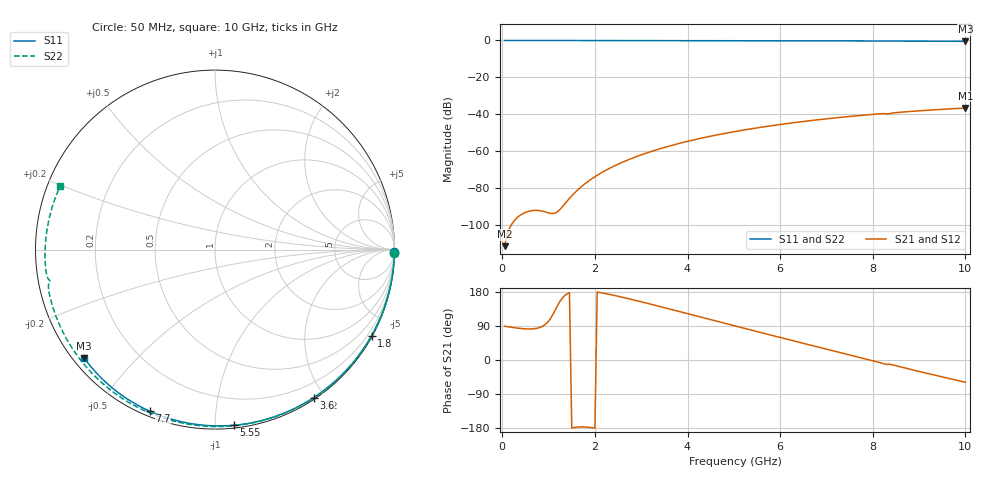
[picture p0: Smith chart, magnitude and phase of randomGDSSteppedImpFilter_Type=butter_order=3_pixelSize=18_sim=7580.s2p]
! freq	dB(S11)	phase(S11)	dB(S12)	phase(S12)
!  dB(S21)	phase(S21)	dB(S22)	phase(S22)
!S-par simulation data
#  GHz  S  DB  R 50
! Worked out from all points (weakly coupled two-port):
!   200 points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, 50 MHz to 10 GHz, reference 50 ohm
!   highest |S21| = -36.69 dB at 10 GHz (marker M1); lowest = -111.7 dB at 50 MHz (marker M2)
!   lowest |S11| = -0.5 dB at 10 GHz (marker M3), VSWR 36.57, Z = 1.54 - j18 ohm
!   |S11| at or under -10 dB: nowhere
!   |S22| runs from -0.6 to 0.0 dB; largest |S21 - S12| = 0
!   S11 on the Smith chart (normalised r, x): 50 MHz: open; 1.8 GHz: 0.03, -3.89; 3.6 GHz: 0.02, -1.87; 5.55 GHz: 0.02, -1.11; 7.7 GHz: 0.02, -0.67; 10 GHz: 0.03, -0.36
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0.05  -0.00 -0.8  -111.69 89.1  -111.69 89.1  -0.00 -1.2
0.8  -0.02 -12.9  -92.37 85.4  -92.37 85.4  -0.02 -18.7
1.65  -0.03 -26.5  -80.64 -176.7  -80.64 -176.7  -0.05 -38.1
1.7  -0.03 -27.3  -79.54 -176.5  -79.54 -176.5  -0.05 -39.3
1.75  -0.04 -28.1  -78.50 -176.6  -78.50 -176.6  -0.05 -40.4
1.8  -0.04 -28.8  -77.50 -177.0  -77.50 -177.0  -0.05 -41.5
2.1  -0.04 -33.5  -72.41 178.2  -72.41 178.2  -0.06 -48.2
2.5  -0.05 -39.7  -67.18 168.2  -67.18 168.2  -0.07 -56.9
2.9  -0.06 -45.8  -63.03 156.6  -63.03 156.6  -0.08 -65.5
3.4  -0.07 -53.3  -58.83 141.3  -58.83 141.3  -0.10 -75.9
3.6  -0.08 -56.3  -57.38 135.0  -57.38 135.0  -0.11 -80.1
4.3  -0.09 -66.5  -53.04 112.9  -53.04 112.9  -0.13 -94.1
5.05  -0.12 -77.1  -49.34 89.1  -49.34 89.1  -0.17 -108.6
5.55  -0.14 -83.9  -47.27 73.4  -47.27 73.4  -0.19 -118.1
6.1  -0.16 -91.3  -45.28 56.3  -45.28 56.3  -0.22 -128.3
6.7  -0.19 -99.2  -43.40 37.8  -43.40 37.8  -0.27 -139.3
7.7  -0.26 -112.0  -40.78 7.4  -40.78 7.4  -0.35 -157.8
8.15  -0.29 -117.6  -39.81 -6.7  -39.81 -6.7  -0.42 -166.5
8.35  -0.31 -120.1  -39.79 -11.0  -39.79 -11.0  -0.57 -169.3
8.6  -0.33 -123.2  -38.95 -18.2  -38.95 -18.2  -0.45 -174.3
9.1  -0.38 -129.3  -38.03 -33.1  -38.03 -33.1  -0.50 175.9
10  -0.48 -140.3  -36.69 -58.8  -36.69 -58.8  -0.61 157.5
